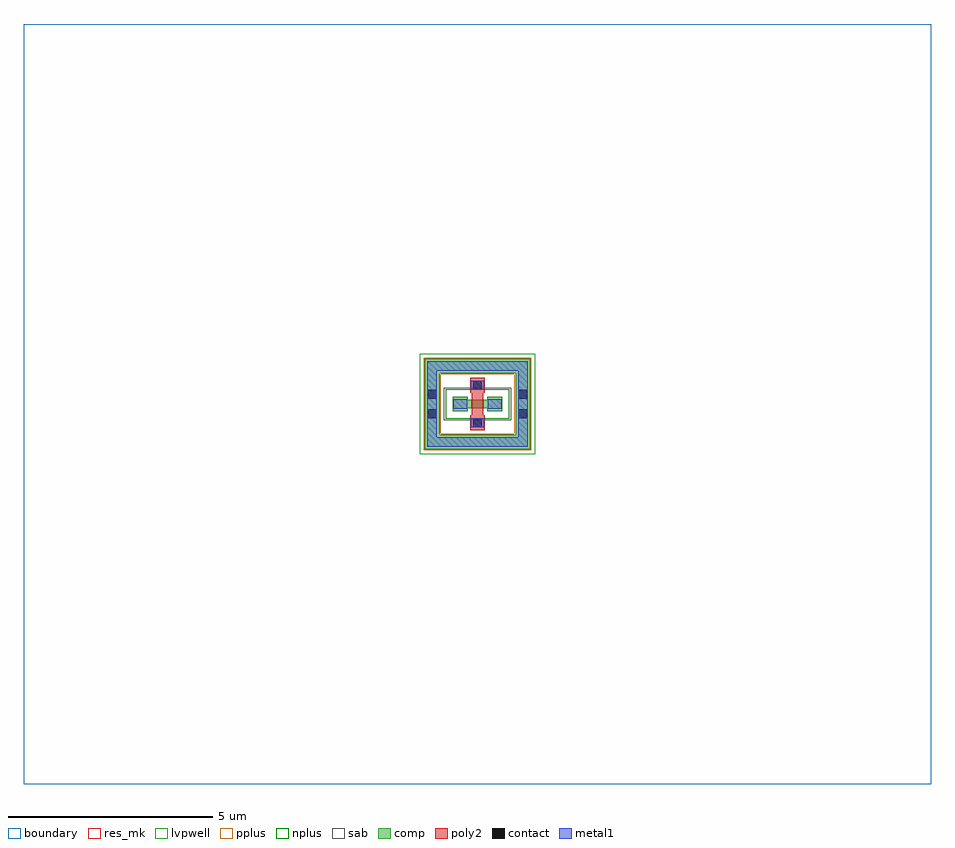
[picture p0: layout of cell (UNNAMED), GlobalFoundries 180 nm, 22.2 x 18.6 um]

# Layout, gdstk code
import gdstk
lib = gdstk.Library(unit=1e-6, precision=1e-09)
def R(c, l, rs):  # rectangles x0, y0, x1, y1
    for r in rs: c.add(gdstk.rectangle(r[:2], r[2:], *l))
boundary = (0, 0)
comp = (22, 0)
poly2 = (30, 0)
pplus = (31, 0)
nplus = (32, 0)
contact = (33, 0)
metal1 = (34, 0)
sab = (49, 0)
res_mk = (110, 5)
lvpwell = (204, 0)

c__unnamed_ = lib.new_cell('(UNNAMED)')
R(c__unnamed_, boundary, [(-11.1,-9.3,11.1,9.3)])
R(c__unnamed_, comp, [(-1.29,-1.11,1.29,-0.75), (-1.29,-0.75,-0.93,0.75), (0.93,-0.75,1.29,0.75), (-0.6,-0.18,-0.24,-0.11), (0.24,-0.18,0.6,-0.11), (-0.6,-0.11,0.6,0.11), (-0.6,0.11,-0.24,0.18), (0.24,0.11,0.6,0.18), (-1.29,0.75,1.29,1.11)])
R(c__unnamed_, poly2, [(-0.18,-0.64,0.18,-0.28), (-0.14,-0.28,0.14,0.28), (-0.18,0.28,0.18,0.64)])
R(c__unnamed_, pplus, [(-1.31,-1.13,1.31,-0.73), (-1.31,-0.73,-0.9,-0.625), (0.9,-0.73,1.31,-0.625), (-1.32,-0.625,-0.9,0.625), (0.9,-0.625,1.32,0.625), (-1.31,0.625,-0.9,0.73), (0.9,0.625,1.31,0.73), (-1.31,0.73,1.31,1.13)])
R(c__unnamed_, nplus, [(-0.78,-0.36,0.78,0.36), (-0.76,-0.34,0.76,0.34)])
R(c__unnamed_, contact, [(-0.11,-0.57,0.11,-0.35), (-1.22,-0.345,-1,-0.125), (1,-0.345,1.22,-0.125), (-1.22,0.125,-1,0.345), (1,0.125,1.22,0.345), (-0.11,0.35,0.11,0.57)])
R(c__unnamed_, metal1, [(-1.225,-1.045,1.225,-0.815), (-1.225,-0.815,-0.995,0.815), (0.995,-0.815,1.225,0.815), (-0.17,-0.575,0.17,-0.345), (-0.59,-0.115,-0.25,0.115), (0.25,-0.115,0.59,0.115), (-0.17,0.345,0.17,0.575), (-1.225,0.815,1.225,1.045)])
R(c__unnamed_, sab, [(-0.82,-0.4,0.82,0.4)])
R(c__unnamed_, res_mk, [(-0.6,-0.18,-0.24,-0.11), (0.24,-0.18,0.6,-0.11), (-0.6,-0.11,-0.14,0.11), (0.14,-0.11,0.6,0.11), (-0.6,0.11,-0.24,0.18), (0.24,0.11,0.6,0.18)])
R(c__unnamed_, lvpwell, [(-1.41,-1.23,1.41,1.23)])

lib.write_gds('_UNNAMED_.gds')
